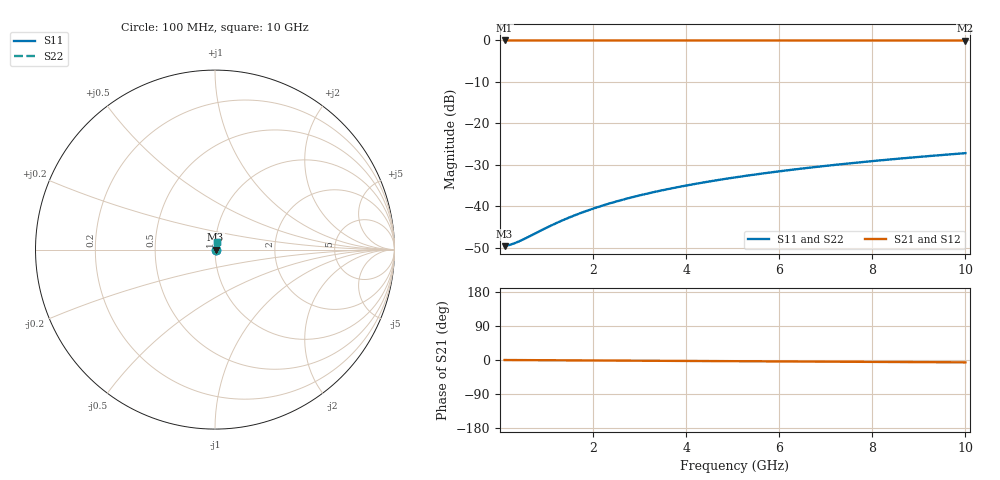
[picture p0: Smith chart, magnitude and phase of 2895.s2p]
# Hz S RI R 50.00
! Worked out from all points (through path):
!   100 points, 100 MHz to 10 GHz, reference 50 ohm
!   highest |S21| = -0.03 dB at 100 MHz (marker M1); lowest = 0.0 dB at 10 GHz (marker M2)
!   lowest |S11| = -49.6 dB at 100 MHz (marker M3), VSWR 1.01, Z = 50.3 + j0.0437 ohm
!   |S11| at or under -10 dB: start of sweep to end of sweep
!   |S22| runs from -49.6 to -27.2 dB; largest |S21 - S12| = 0
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1e8  0.0033 0.000434  0.9967 -0.00108  0.9967 -0.00108  0.0033 0.000434
2e8  0.00332 0.000868  0.9967 -0.00216  0.9967 -0.00216  0.00332 0.000868
3e8  0.00334 0.0013  0.9967 -0.00325  0.9967 -0.00325  0.00334 0.0013
4e8  0.00335 0.00174  0.9966 -0.00433  0.9966 -0.00433  0.00335 0.00174
6e8  0.00338 0.0026  0.9966 -0.00649  0.9966 -0.00649  0.00338 0.0026
1e9  0.00344 0.00434  0.9965 -0.0108  0.9965 -0.0108  0.00344 0.00434
1.2e9  0.00348 0.00521  0.9965 -0.013  0.9965 -0.013  0.00348 0.00521
1.5e9  0.00353 0.00651  0.9964 -0.0162  0.9964 -0.0162  0.00353 0.00651
1.8e9  0.00359 0.00781  0.9963 -0.0195  0.9963 -0.0195  0.00359 0.00781
2.1e9  0.00366 0.00911  0.9962 -0.0227  0.9962 -0.0227  0.00366 0.00911
2.5e9  0.00376 0.0108  0.9961 -0.027  0.9961 -0.027  0.00376 0.0108
2.9e9  0.00388 0.0126  0.9959 -0.0314  0.9959 -0.0314  0.00388 0.0126
3.4e9  0.00404 0.0147  0.9957 -0.0368  0.9957 -0.0368  0.00404 0.0147
3.8e9  0.00419 0.0165  0.9955 -0.0411  0.9955 -0.0411  0.00419 0.0165
4.2e9  0.00435 0.0182  0.9952 -0.0454  0.9952 -0.0454  0.00435 0.0182
4.6e9  0.00453 0.0199  0.995 -0.0497  0.995 -0.0497  0.00453 0.0199
5.1e9  0.00477 0.0221  0.9946 -0.0551  0.9946 -0.0551  0.00477 0.0221
5.9e9  0.00521 0.0255  0.994 -0.0638  0.994 -0.0638  0.00521 0.0255
6.7e9  0.0057 0.0289  0.9933 -0.0724  0.9933 -0.0724  0.0057 0.0289
7.5e9  0.00626 0.0324  0.9925 -0.081  0.9925 -0.081  0.00626 0.0324
8.4e9  0.00695 0.0362  0.9915 -0.0907  0.9915 -0.0907  0.00695 0.0362
1e10  0.00837 0.043  0.9895 -0.1078  0.9895 -0.1078  0.00837 0.043
